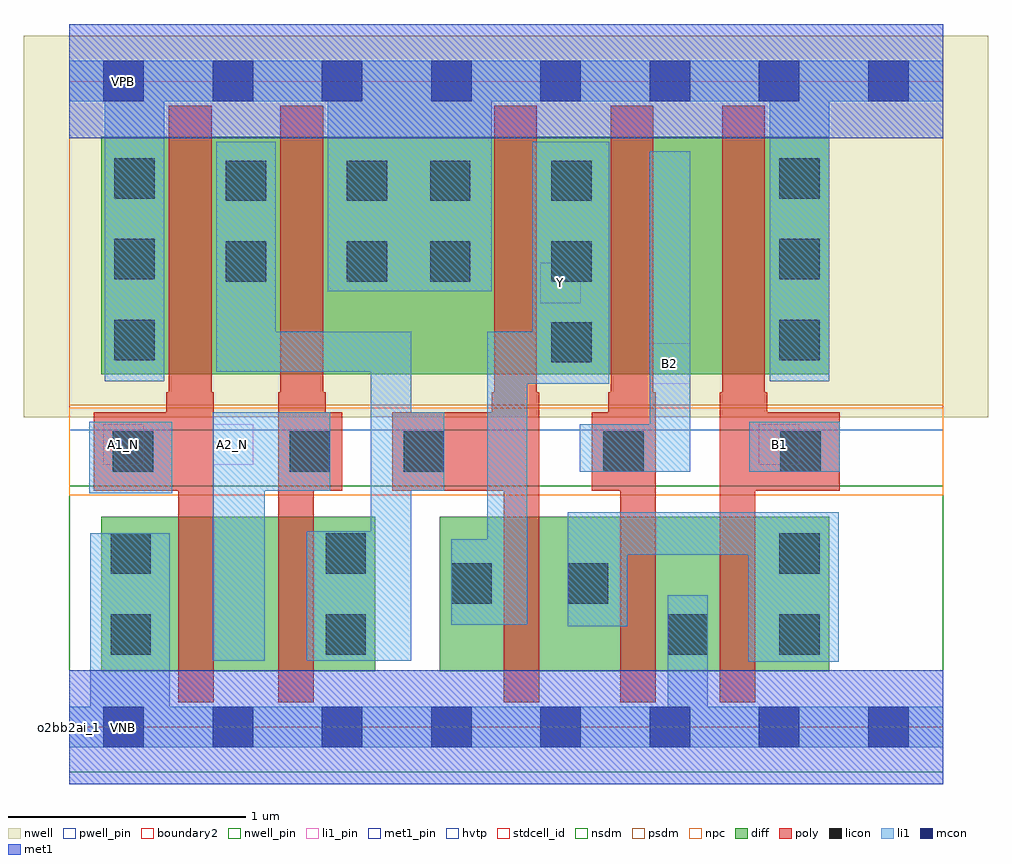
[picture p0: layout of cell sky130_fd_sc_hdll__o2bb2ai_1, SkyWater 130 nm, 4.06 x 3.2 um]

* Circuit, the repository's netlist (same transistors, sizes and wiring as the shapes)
* Copyright 2020 The SkyWater PDK Authors
*
* Licensed under the Apache License, Version 2.0 (the "License");
* you may not use this file except in compliance with the License.
* You may obtain a copy of the License at
*
*     https://www.apache.org/licenses/LICENSE-2.0
*
* Unless required by applicable law or agreed to in writing, software
* distributed under the License is distributed on an "AS IS" BASIS,
* WITHOUT WARRANTIES OR CONDITIONS OF ANY KIND, either express or implied.
* See the License for the specific language governing permissions and
* limitations under the License.
*
* SPDX-License-Identifier: Apache-2.0

.SUBCKT sky130_fd_sc_hdll__o2bb2ai_1 A1_N A2_N B1 B2 VGND VNB VPB VPWR Y
*.PININFO A1_N:I A2_N:I B1:I B2:I VGND:I VNB:I VPB:I VPWR:I Y:O
MMNnand0 VGND A1_N sndNA1N VNB sky130_fd_pr__nfet_01v8 m=1 w=0.65U l=0.15U mult=1
+ sa=0.265 sb=0.265 sd=0.28 area=0.063 perim=1.14
MMNnand1 sndNA1N A2_N inand VNB sky130_fd_pr__nfet_01v8 m=1 w=0.65U l=0.15U mult=1
+ sa=0.265 sb=0.265 sd=0.28 area=0.063 perim=1.14
MMNaoi10 nmid B1 VGND VNB sky130_fd_pr__nfet_01v8 m=1 w=0.65U l=0.15U mult=1 sa=0.265
+ sb=0.265 sd=0.28 area=0.063 perim=1.14
MMNaoi11 nmid B2 VGND VNB sky130_fd_pr__nfet_01v8 m=1 w=0.65U l=0.15U mult=1 sa=0.265
+ sb=0.265 sd=0.28 area=0.063 perim=1.14
MMNaoi20 Y inand nmid VNB sky130_fd_pr__nfet_01v8 m=1 w=0.65U l=0.15U mult=1 sa=0.265
+ sb=0.265 sd=0.28 area=0.063 perim=1.14
MMPnand0 inand A1_N VPWR VPB sky130_fd_pr__pfet_01v8_hvt m=1 w=1.0U l=0.18U mult=1
+ sa=0.265 sb=0.265 sd=0.28 area=0.063 perim=1.14
MMPnand1 inand A2_N VPWR VPB sky130_fd_pr__pfet_01v8_hvt m=1 w=1.0U l=0.18U mult=1
+ sa=0.265 sb=0.265 sd=0.28 area=0.063 perim=1.14
MMPaoi10 VPWR B1 sndPB1 VPB sky130_fd_pr__pfet_01v8_hvt m=1 w=1.0U l=0.18U mult=1
+ sa=0.265 sb=0.265 sd=0.28 area=0.063 perim=1.14
MMPaoi11 sndPB1 B2 Y VPB sky130_fd_pr__pfet_01v8_hvt m=1 w=1.0U l=0.18U mult=1
+ sa=0.265 sb=0.265 sd=0.28 area=0.063 perim=1.14
MMPaoi20 Y inand VPWR VPB sky130_fd_pr__pfet_01v8_hvt m=1 w=1.0U l=0.18U mult=1
+ sa=0.265 sb=0.265 sd=0.28 area=0.063 perim=1.14
.ENDS sky130_fd_sc_hdll__o2bb2ai_1

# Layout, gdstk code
import gdstk
lib = gdstk.Library(unit=1e-6, precision=1e-09)
def R(c, l, rs):  # rectangles x0, y0, x1, y1
    for r in rs: c.add(gdstk.rectangle(r[:2], r[2:], *l))
def A(c, l, x, y, w, h, nx, ny, dx, dy):  # array of equal rectangles
    R(c, l, [(x+i*dx, y+j*dy, x+i*dx+w, y+j*dy+h) for i in range(nx) for j in range(ny)])
def P(c, l, *ps):  # polygons
    for p in ps: c.add(gdstk.Polygon(p, *l))
nwell_pin = (64, 16)
nwell = (64, 20)
diff = (65, 20)
poly = (66, 20)
licon = (66, 44)
li1_pin = (67, 16)
li1 = (67, 20)
mcon = (67, 44)
met1_pin = (68, 16)
met1 = (68, 20)
hvtp = (78, 44)
stdcell_id = (81, 4)
nsdm = (93, 44)
psdm = (94, 20)
npc = (95, 20)
pwell_pin = (122, 16)
boundary2 = (236, 0)

sky130_fd_sc_hdll__o2bb2 = lib.new_cell('sky130_fd_sc_hdll__o2bb2ai_1')
R(sky130_fd_sc_hdll__o2bb2, nwell_pin, [(0.145,2.635,0.315,2.805)])
R(sky130_fd_sc_hdll__o2bb2, nwell, [(-0.19,1.305,3.87,2.91)])
R(sky130_fd_sc_hdll__o2bb2, diff, [(0.135,0.235,1.29,0.885), (1.56,0.235,3.2,0.885), (0.135,1.485,3.2,2.485)])
P(sky130_fd_sc_hdll__o2bb2, poly, [(0.61,1.41),(0.6,1.41),(0.6,2.615),(0.42,2.615),(0.42,1.41),(0.41,1.41),(0.41,1.325),(0.105,1.325),(0.105,0.995),(0.46,0.995),(0.46,0.105),(0.61,0.105)],
  [(1.15,1.325),(1.08,1.325),(1.08,1.41),(1.07,1.41),(1.07,2.615),(0.89,2.615),(0.89,1.41),(0.88,1.41),(0.88,0.105),(1.03,0.105),(1.03,0.995),(1.15,0.995)],
  [(1.98,1.41),(1.97,1.41),(1.97,2.615),(1.79,2.615),(1.79,1.41),(1.78,1.41),(1.78,1.325),(1.36,1.325),(1.36,0.995),(1.83,0.995),(1.83,0.105),(1.98,0.105)],
  [(2.47,1.41),(2.46,1.41),(2.46,2.615),(2.28,2.615),(2.28,1.41),(2.27,1.41),(2.27,1.325),(2.2,1.325),(2.2,0.995),(2.32,0.995),(2.32,0.105),(2.47,0.105)],
  [(3.245,1.325),(2.94,1.325),(2.94,1.41),(2.93,1.41),(2.93,2.615),(2.75,2.615),(2.75,1.41),(2.74,1.41),(2.74,0.105),(2.89,0.105),(2.89,0.995),(3.245,0.995)])
A(sky130_fd_sc_hdll__o2bb2, licon, 2.03, 1.535, 0.17, 0.17, 1, 3, 0, 0.34)
A(sky130_fd_sc_hdll__o2bb2, licon, 0.19, 1.545, 0.17, 0.17, 1, 3, 0, 0.34)
A(sky130_fd_sc_hdll__o2bb2, licon, 2.99, 1.545, 0.17, 0.17, 1, 3, 0, 0.34)
R(sky130_fd_sc_hdll__o2bb2, licon, [(0.175,0.305,0.345,0.475), (1.08,0.305,1.25,0.475), (2.52,0.305,2.69,0.475), (2.99,0.305,3.16,0.475), (1.61,0.52,1.78,0.69), (2.1,0.52,2.27,0.69), (0.175,0.645,0.345,0.815), (1.08,0.645,1.25,0.815), (2.99,0.645,3.16,0.815), (0.185,1.075,0.355,1.245), (0.93,1.075,1.1,1.245), (1.41,1.075,1.58,1.245), (2.25,1.075,2.42,1.245), (2.995,1.075,3.165,1.245), (0.66,1.875,0.83,2.045), (1.17,1.875,1.34,2.045), (1.52,1.875,1.69,2.045), (0.66,2.215,0.83,2.385), (1.17,2.215,1.34,2.385), (1.52,2.215,1.69,2.385)])
R(sky130_fd_sc_hdll__o2bb2, li1_pin, [(0.145,1.105,0.315,1.275), (0.605,1.105,0.775,1.275), (2.905,1.105,3.075,1.275), (2.445,1.445,2.615,1.615), (1.985,1.785,2.155,1.955)])
R(sky130_fd_sc_hdll__o2bb2, li1, [(0.085,0.985,0.435,1.285), (2.865,1.075,3.245,1.285)])
P(sky130_fd_sc_hdll__o2bb2, li1, [(3.68,0.085),(2.69,0.085),(2.69,0.555),(2.52,0.555),(2.52,0.085),(0.425,0.085),(0.425,0.815),(0.09,0.815),(0.09,0.085),(0,0.085),(0,-0.085),(3.68,-0.085)],
  [(3.68,2.805),(0,2.805),(0,2.635),(0.15,2.635),(0.15,1.455),(0.4,1.455),(0.4,2.635),(1.09,2.635),(1.09,1.835),(1.78,1.835),(1.78,2.635),(2.95,2.635),(2.95,1.455),(3.2,1.455),(3.2,2.635),(3.68,2.635)],
  [(0.605,0.28),(0.605,1.325),(1.1,1.325),(1.1,0.995),(0.825,0.995),(0.825,0.28)],
  [(1.58,1.325),(1.44,1.325),(1.44,1.665),(0.87,1.665),(0.87,2.465),(0.62,2.465),(0.62,1.495),(1.27,1.495),(1.27,0.825),(1,0.825),(1,0.28),(1.44,0.28),(1.44,0.995),(1.58,0.995)],
  [(2.275,2.465),(1.95,2.465),(1.95,1.665),(1.76,1.665),(1.76,0.79),(1.61,0.79),(1.61,0.43),(1.93,0.43),(1.93,1.445),(2.275,1.445)],
  [(2.615,2.425),(2.445,2.425),(2.445,1.275),(2.15,1.275),(2.15,1.075),(2.615,1.075)],
  [(3.24,0.905),(2.1,0.905),(2.1,0.425),(2.35,0.425),(2.35,0.725),(2.86,0.725),(2.86,0.275),(3.24,0.275)])
A(sky130_fd_sc_hdll__o2bb2, mcon, 0.145, -0.085, 0.17, 0.17, 8, 2, 0.46, 2.72)
R(sky130_fd_sc_hdll__o2bb2, met1_pin, [(0.145,-0.085,0.315,0.085), (0.145,2.635,0.315,2.805)])
R(sky130_fd_sc_hdll__o2bb2, met1, [(0,-0.24,3.68,0.24), (0,2.48,3.68,2.96)])
R(sky130_fd_sc_hdll__o2bb2, hvtp, [(0,1.25,3.68,2.72)])
R(sky130_fd_sc_hdll__o2bb2, stdcell_id, [(0,0,3.68,2.72)])
R(sky130_fd_sc_hdll__o2bb2, nsdm, [(0,-0.19,3.68,1.015)])
R(sky130_fd_sc_hdll__o2bb2, psdm, [(0,1.355,3.68,2.91)])
R(sky130_fd_sc_hdll__o2bb2, npc, [(0,0.975,3.68,1.345)])
R(sky130_fd_sc_hdll__o2bb2, pwell_pin, [(0.145,-0.085,0.315,0.085)])
R(sky130_fd_sc_hdll__o2bb2, boundary2, [(0,0,3.68,2.72)])
sky130_fd_sc_hdll__o2bb2.add(gdstk.Label('Y', (2.07,1.87), layer=67, texttype=5))
sky130_fd_sc_hdll__o2bb2.add(gdstk.Label('A1_N', (0.23,1.19), layer=67, texttype=5))
sky130_fd_sc_hdll__o2bb2.add(gdstk.Label('A2_N', (0.69,1.19), layer=67, texttype=5))
sky130_fd_sc_hdll__o2bb2.add(gdstk.Label('B2', (2.53,1.53), layer=67, texttype=5))
sky130_fd_sc_hdll__o2bb2.add(gdstk.Label('B1', (2.99,1.19), layer=67, texttype=5))
sky130_fd_sc_hdll__o2bb2.add(gdstk.Label('VPB', (0.23,2.72), layer=64, texttype=5))
sky130_fd_sc_hdll__o2bb2.add(gdstk.Label('VNB', (0.23,0), layer=64, texttype=59))
sky130_fd_sc_hdll__o2bb2.add(gdstk.Label('VGND', (0.23,0), layer=68, texttype=5))
sky130_fd_sc_hdll__o2bb2.add(gdstk.Label('VPWR', (0.23,2.72), layer=68, texttype=5))
sky130_fd_sc_hdll__o2bb2.add(gdstk.Label('o2bb2ai_1', (0,0), layer=83, texttype=44))

lib.write_gds('sky130_fd_sc_hdll__o2bb2ai_1.gds')
